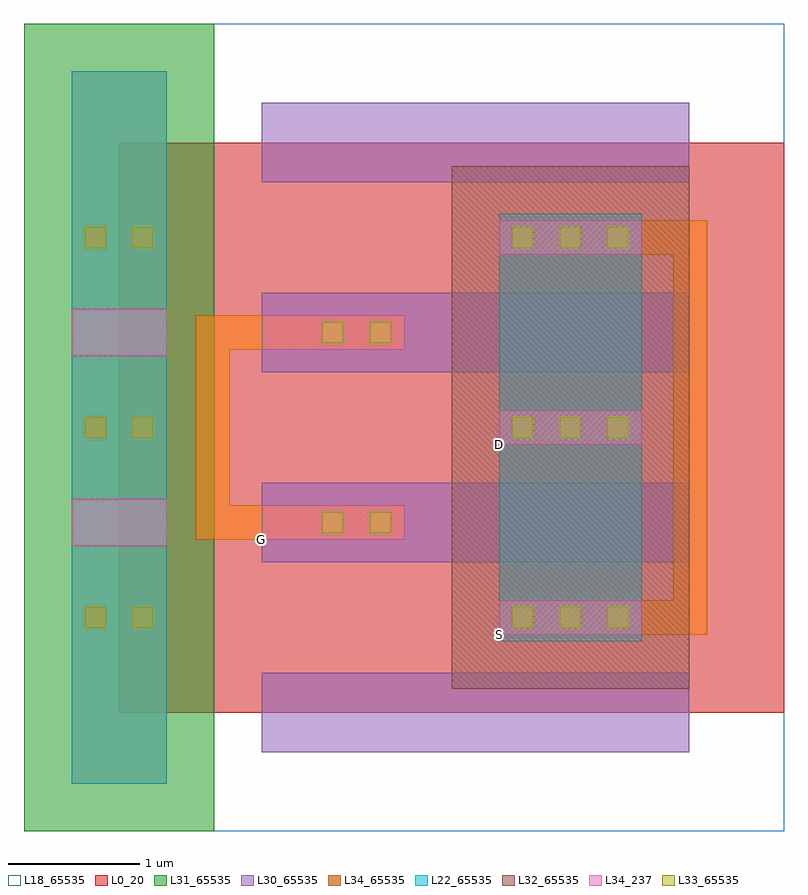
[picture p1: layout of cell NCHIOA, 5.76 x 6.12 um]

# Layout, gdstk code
import gdstk
lib = gdstk.Library(unit=1e-6, precision=1e-09)
def R(c, l, rs):  # rectangles x0, y0, x1, y1
    for r in rs: c.add(gdstk.rectangle(r[:2], r[2:], *l))
def A(c, l, x, y, w, h, nx, ny, dx, dy):  # array of equal rectangles
    R(c, l, [(x+i*dx, y+j*dy, x+i*dx+w, y+j*dy+h) for i in range(nx) for j in range(ny)])
L0_20 = (0, 20)
L18_65535 = (18, 65535)
L22_65535 = (22, 65535)
L30_65535 = (30, 65535)
L31_65535 = (31, 65535)
L32_65535 = (32, 65535)
L33_65535 = (33, 65535)
L34_237 = (34, 237)
L34_65535 = (34, 65535)

nchio = lib.new_cell('NCHIO')
R(nchio, L0_20, [(0,0,5.04,2.88)])
R(nchio, L18_65535, [(-0.72,-0.9,5.04,3.78)])
A(nchio, L22_65535, -0.36, -0.54, 0.72, 0.36, 1, 11, 0, 0.36)
A(nchio, L22_65535, 2.88, 0.54, 1.08, 0.36, 1, 5, 0, 0.36)
A(nchio, L30_65535, 1.08, -0.3, 3.24, 0.6, 1, 3, 0, 1.44)
R(nchio, L31_65535, [(-0.72,-0.9,0.72,3.78)])
R(nchio, L32_65535, [(2.52,0.18,4.32,2.7)])
A(nchio, L33_65535, 2.98, 0.64, 0.16, 0.16, 3, 2, 0.36, 1.44)
R(nchio, L33_65535, [(-0.26,0.64,-0.1,0.8), (0.1,0.64,0.26,0.8), (1.54,1.36,1.7,1.52), (1.9,1.36,2.06,1.52), (-0.26,2.08,-0.1,2.24), (0.1,2.08,0.26,2.24)])
R(nchio, L34_237, [(2.88,0.59,3.96,0.85), (-0.36,1.26,0.36,1.62), (1.08,1.31,2.16,1.57), (2.88,2.03,3.96,2.29)])
A(nchio, L34_65535, -0.36, -0.54, 0.72, 0.36, 1, 11, 0, 0.36)
R(nchio, L34_65535, [(2.88,0.59,3.96,0.85), (1.08,1.31,2.16,1.57), (2.88,2.03,3.96,2.29)])
nchio.add(gdstk.Label('G', (1.08,1.31), layer=34, texttype=237))
nchio.add(gdstk.Label('S', (2.88,0.59), layer=34, texttype=237))
nchio.add(gdstk.Label('B', (-0.36,1.26), layer=34, texttype=237))
nchio.add(gdstk.Label('D', (2.88,2.03), layer=34, texttype=237))

nchioa = lib.new_cell('NCHIOA')
R(nchioa, L0_20, [(0,0,5.04,4.32)])
R(nchioa, L34_237, [(2.88,0.59,3.96,0.85), (1.08,1.31,2.16,1.57), (2.88,2.03,3.96,2.29)])
R(nchioa, L34_65535, [(3.42,0.59,4.2,0.85), (4.2,0.59,4.46,3.73), (0.58,1.31,1.62,1.57), (0.58,1.31,0.84,3.01), (0.58,2.75,1.62,3.01), (3.42,3.47,4.2,3.73)])
nchioa.add(gdstk.Reference(nchio, (0,0)))
nchioa.add(gdstk.Reference(nchio, (0,1.44)))
nchioa.add(gdstk.Label('S', (2.88,0.59), layer=58, texttype=65535))
nchioa.add(gdstk.Label('G', (1.08,1.31), layer=58, texttype=65535))
nchioa.add(gdstk.Label('D', (2.88,2.03), layer=34, texttype=237))
nchioa.add(gdstk.Label('G', (1.08,1.31), layer=34, texttype=237))
nchioa.add(gdstk.Label('S', (2.88,0.59), layer=34, texttype=237))

lib.write_gds('NCHIOA.gds')
